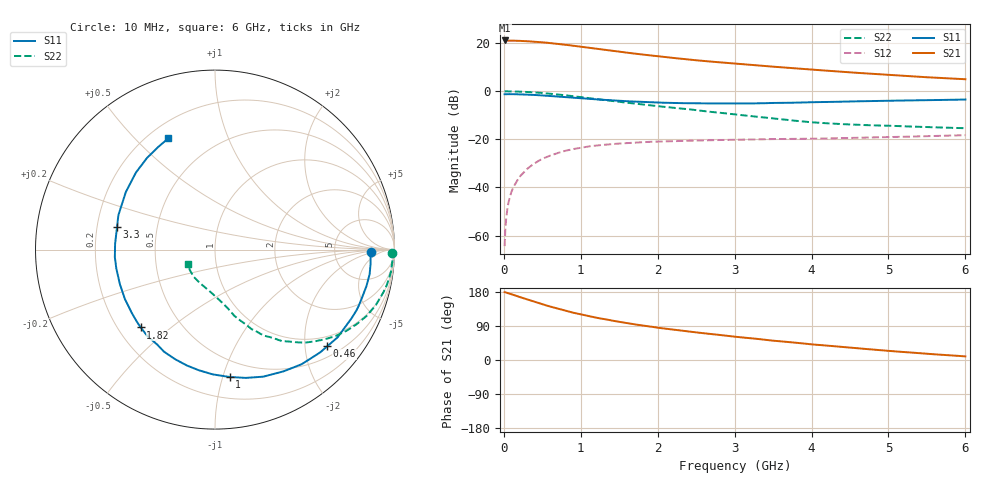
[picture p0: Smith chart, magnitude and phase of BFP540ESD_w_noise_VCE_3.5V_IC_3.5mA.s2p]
! Infineon Technologies  Discrete & RF Semiconductors
! BFP540ESD
! VCE =  3.5 V,  IC =  3.5 mA
! Common Emitter S-Parameters:  Nov 2015
# GHz  S  MA  R  50
!  f  S11  S21  S12  S22
! GHz  MAG  ANG  MAG  ANG  MAG  ANG  MAG  ANG
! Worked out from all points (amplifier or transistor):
!   210 points, 10 MHz to 6 GHz, reference 50 ohm
!   highest |S21| = 21.1 dB at 10 MHz (marker M1)
!   |S21| within 3 dB of that: start of sweep to 1.097 GHz
!   unconditionally stable (mu >= 1): start of sweep to 10.83 MHz; 3.652 GHz to end of sweep
!   at 185 MHz: K = 0.04, MSG = 28.7 dB, |S12| = -36.5 dB
!   at 1.52 GHz: K = 0.38, MSG = 19.0 dB, |S12| = -21.7 dB
!   at 6 GHz: K = 1.28, MAG = 8.5 dB, |S12| = -18.3 dB
!   lowest NFmin = 0.64 dB at 900 MHz
!   S11 on the Smith chart (normalised r, x): 10 MHz: 14, -1; 460 MHz: 0.74, -2.50; 1 GHz: 0.36, -1.05; 1.82 GHz: 0.29, -0.40; 3.3 GHz: 0.29, +0.11; 6 GHz: 0.28, +0.63
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0.01  0.8672 -0.7  11.39 179.0  0.0006 41.8  0.984 -1.2
0.02  0.8671 -2.2  11.28 178.7  0.0014 102.1  0.9979 -1.0
0.045  0.8698 -4.1  11.3 176.9  0.0035 82.9  0.9945 -2.2
0.105  0.8717 -9.4  11.29 173.1  0.0086 82.8  0.9887 -5.0
0.26  0.8578 -23.2  11.09 162.7  0.0206 78.1  0.9747 -12.5
0.46  0.8251 -40.8  10.57 149.8  0.0363 70.6  0.9319 -21.7
0.6  0.8005 -52.9  10.07 141.0  0.0457 65.0  0.8917 -27.8
0.7  0.7785 -60.6  9.706 135.8  0.052 61.3  0.8601 -31.8
0.8  0.7573 -69.2  9.296 130.1  0.0578 57.6  0.8253 -35.8
1  0.7142 -83.5  8.444 120.4  0.0667 50.7  0.7565 -42.5
1.02  0.7095 -85.0  8.362 119.5  0.0676 50.0  0.7493 -43.2
1.2  0.6781 -97.7  7.649 111.7  0.0743 44.6  0.6907 -48.4
1.4  0.6497 -110.1  6.974 104.3  0.0798 39.8  0.6308 -53.9
1.58  0.6221 -120.4  6.39 98.1  0.0835 36.4  0.5831 -57.2
1.82  0.5995 -133.7  5.76 90.5  0.087 32.2  0.5263 -62.1
2.02  0.5811 -143.5  5.319 84.7  0.0899 29.4  0.4864 -65.3
2.6  0.5603 -168.4  4.264 70.5  0.095 23.4  0.3849 -73.7
3.1  0.5566 173.5  3.646 59.6  0.0984 20.3  0.3178 -79.6
3.3  0.5603 166.9  3.437 55.6  0.0998 19.2  0.2939 -83.0
4.1  0.5943 144.8  2.751 39.7  0.1036 15.7  0.2209 -102.9
5.1  0.6384 125.0  2.147 22.5  0.1118 13.2  0.1892 -130.6
6  0.6725 112.7  1.779 9.5  0.1219 12.0  0.1707 -152.6
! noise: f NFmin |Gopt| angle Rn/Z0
0.9  0.64  0.22  44  0.14
1.8  0.9  0.18  97  0.12
2.4  0.92  0.21  112  0.1
3  1.1  0.26  147  0.09
4  1.35  0.28  -137  0.14
5  1.65  0.41  -105  0.31
6  1.85  0.54  -104  0.47
